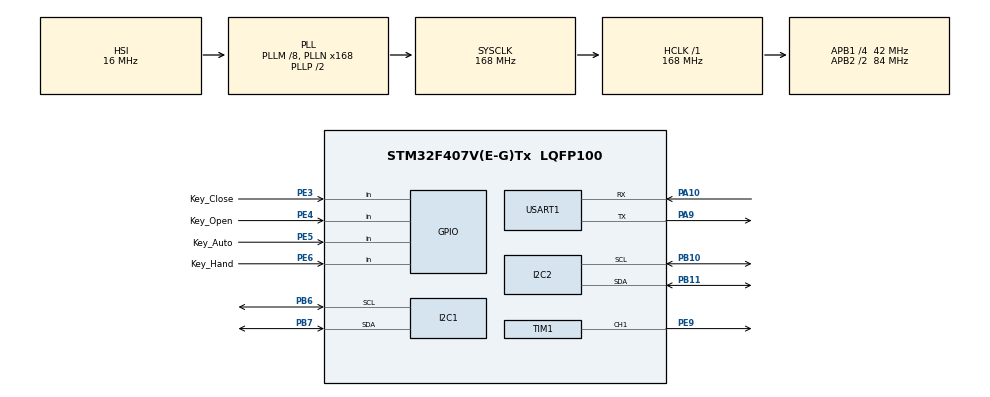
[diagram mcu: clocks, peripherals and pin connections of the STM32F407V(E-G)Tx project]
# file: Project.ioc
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Mcu.Family=STM32F4
Mcu.Name=STM32F407V(E-G)Tx
Mcu.Package=LQFP100
NVIC.PriorityGroup=NVIC_PRIORITYGROUP_4
PA10.Mode=Asynchronous
PA10.Signal=USART1_RX
PA13.Mode=Serial_Wire
PA13.Signal=SYS_JTMS-SWDIO
PA14.Mode=Serial_Wire
PA14.Signal=SYS_JTCK-SWCLK
PA9.Mode=Asynchronous
PA9.Signal=USART1_TX
PB10.Mode=I2C
PB10.Signal=I2C2_SCL
PB11.Mode=I2C
PB11.Signal=I2C2_SDA
PB6.Mode=I2C
PB6.Signal=I2C1_SCL
PB7.Mode=I2C
PB7.Signal=I2C1_SDA
PC14-OSC32_IN.Mode=LSE-External-Oscillator
PC14-OSC32_IN.Signal=RCC_OSC32_IN
PC15-OSC32_OUT.Mode=LSE-External-Oscillator
PC15-OSC32_OUT.Signal=RCC_OSC32_OUT
PE3.GPIO_Label=Key_Close
PE3.GPIO_PuPd=GPIO_PULLUP
PE3.Signal=GPIO_Input
PE4.GPIO_Label=Key_Open
PE4.GPIO_PuPd=GPIO_PULLUP
PE4.Signal=GPIO_Input
PE5.GPIO_Label=Key_Auto
PE5.GPIO_PuPd=GPIO_PULLUP
PE5.Signal=GPIO_Input
PE6.GPIO_Label=Key_Hand
PE6.GPIO_PuPd=GPIO_PULLUP
PE6.Signal=GPIO_Input
PE9.Signal=S_TIM1_CH1
PH0-OSC_IN.Mode=HSE-External-Oscillator
PH0-OSC_IN.Signal=RCC_OSC_IN
PH1-OSC_OUT.Mode=HSE-External-Oscillator
PH1-OSC_OUT.Signal=RCC_OSC_OUT
ProjectManager.HeapSize=0x200
ProjectManager.StackSize=0x400
ProjectManager.TargetToolchain=MDK-ARM V5.32
RCC.48MHZClocksFreq_Value=84000000
RCC.AHBFreq_Value=168000000
RCC.APB1CLKDivider=RCC_HCLK_DIV4
RCC.APB1Freq_Value=42000000
RCC.APB1TimFreq_Value=84000000
RCC.APB2CLKDivider=RCC_HCLK_DIV2
RCC.APB2Freq_Value=84000000
RCC.APB2TimFreq_Value=168000000
RCC.CortexFreq_Value=168000000
RCC.HCLKFreq_Value=168000000
RCC.HSE_VALUE=25000000
RCC.HSI_VALUE=16000000
RCC.PLLM=8
RCC.PLLN=168
RCC.SYSCLKFreq_VALUE=168000000
RCC.SYSCLKSource=RCC_SYSCLKSOURCE_PLLCLK
RCC.VCOOutputFreq_Value=336000000
SH.S_TIM1_CH1.0=TIM1_CH1,PWM Generation1 CH1
TIM1.Channel-PWM\ Generation1\ CH1=TIM_CHANNEL_1
TIM1.Period=19999
TIM1.Prescaler=71
TIM1.Pulse-PWM\ Generation1\ CH1=500
USART1.VirtualMode=VM_ASYNC
VP_TIM1_VS_ClockSourceINT.Mode=Internal
board=custom

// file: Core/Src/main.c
/* USER CODE BEGIN Header */
/**
  ******************************************************************************
  * @file           : main.c
  * @brief          : Main program body
  ******************************************************************************
  * @attention
  *
  * Copyright (c) 2023 STMicroelectronics.
  * All rights reserved.
  *
  * This software is licensed under terms that can be found in the LICENSE file
  * in the root directory of this software component.
  * If no LICENSE file comes with this software, it is provided AS-IS.
  *
  ******************************************************************************
  */
/* USER CODE END Header */
#include "main.h"
#include "i2c.h"
#include "tim.h"
#include "usart.h"
#include "gpio.h"

/* USER CODE BEGIN Includes */
#include "stdio.h"
#include "oled.h"
#include "bh1750.h"
#include "steeringengine.h"
/* USER CODE END Includes */

void SystemClock_Config(void);

int main(void)
{
  /* USER CODE BEGIN 1 */
	uint8_t x = 0;
	uint8_t y = 0;
	uint16_t lightValue = 0;
	uint8_t rxData[1];
	uint8_t cmdNum = 0;
	uint8_t lightLimit = 50;
  /* USER CODE END 1 */

  /* MCU Configuration--------------------------------------------------------*/

  /* Reset of all peripherals, Initializes the Flash interface and the Systick. */
  HAL_Init();

  /* Configure the system clock */
  SystemClock_Config();

  /* Initialize all configured peripherals */
  MX_GPIO_Init();
  MX_I2C1_Init();
  MX_USART1_UART_Init();
  MX_I2C2_Init();
  MX_TIM1_Init();
  /* USER CODE BEGIN 2 */
	OLED_Init();
	OLED_Clear();
	OLED_ShowChinese(x + 32, y, 0);
	OLED_ShowChinese(x + 32 + 16 * 1, y, 1);
	OLED_ShowChinese(x + 32 + 16 * 2, y, 2);
	OLED_ShowChinese(x + 32 + 16 * 3, y, 3);
	OLED_ShowChinese(x + 32, y + 2 * 1, 4);
	OLED_ShowChinese(x + 32 + 16 * 1, y + 2 * 1, 5);
	OLED_ShowChinese(x + 32 + 16 * 2, y + 2 * 1, 6);
	OLED_ShowChinese(x + 32 + 16 * 3, y + 2 * 1, 7);

	OLED_ShowChinese(x, y + 2 * 2, 8);
	OLED_ShowChinese(x + 16 * 1, y + 2 * 2, 9);
	OLED_ShowChinese(x, y + 2 * 3, 10);
	OLED_ShowChinese(x + 16 * 1, y + 2 * 3, 11);

	OLED_ShowChinese(x + 16 * 3 + 8, y + 2 * 3, 12);
	OLED_ShowChinese(x + 16 * 4 + 8, y + 2 * 3, 13);
	OLED_ShowChar(x + 16 * 5 + 8, y + 2 * 3, ':', 16);
  /* USER CODE END 2 */

  /* Infinite loop */
  /* USER CODE BEGIN WHILE */
  while (1)
  {
		HAL_UART_Receive_IT(&huart1, rxData, 1);
		cmdNum = rxData[0];

		lightValue = Get_BH1750_Value();
		OLED_ShowNum(x + 16 * 2, y + 2 * 2, lightValue, 8, 16);
		OLED_ShowChar(x + 16 * 6 + 8 * 1, y + 2 * 2, 'L', 16);
		OLED_ShowChar(x + 16 * 6 + 8 * 2, y + 2 * 2, 'u', 16);
		OLED_ShowChar(x + 16 * 6 + 8 * 3, y + 2 * 2, 'x', 16);
		if(HAL_GPIO_ReadPin(Key_Auto_GPIO_Port, Key_Auto_Pin) == GPIO_PIN_RESET)
		{
			OLED_ShowChar(x + 96 + 8 * 0, y + 2 * 3, 'A', 16);
			OLED_ShowChar(x + 96 + 8 * 1, y + 2 * 3, 'u', 16);
			OLED_ShowChar(x + 96 + 8 * 2, y + 2 * 3, 't', 16);
			OLED_ShowChar(x + 96 + 8 * 3, y + 2 * 3, 'o', 16);
			if(lightValue<lightLimit)
			{
				HAL_Delay(200);
				closeCurtain();
			}
			else if(lightValue>lightLimit)
			{
				HAL_Delay(200);
				openCurtain();
			}
		}
		else if(HAL_GPIO_ReadPin(Key_Hand_GPIO_Port, Key_Hand_Pin) == GPIO_PIN_RESET)
		{
			OLED_ShowChar(x + 96 + 8 * 0, y + 2 * 3, 'H', 16);
			OLED_ShowChar(x + 96 + 8 * 1, y + 2 * 3, 'a', 16);
			OLED_ShowChar(x + 96 + 8 * 2, y + 2 * 3, 'n', 16);
			OLED_ShowChar(x + 96 + 8 * 3, y + 2 * 3, 'd', 16);
			if(HAL_GPIO_ReadPin(Key_Open_GPIO_Port, Key_Open_Pin) == GPIO_PIN_RESET || cmdNum == 1)
			{
				HAL_Delay(100);
				openCurtain();
			}
			else if(HAL_GPIO_ReadPin(Key_Close_GPIO_Port, Key_Close_Pin) == GPIO_PIN_RESET || cmdNum == 0)
			{
				HAL_Delay(100);
				closeCurtain();
			}
		}
    /* USER CODE END WHILE */

  }
}

void SystemClock_Config(void)
{
  RCC_OscInitTypeDef RCC_OscInitStruct = {0};
  RCC_ClkInitTypeDef RCC_ClkInitStruct = {0};

  /** Configure the main internal regulator output voltage
  */
  __HAL_RCC_PWR_CLK_ENABLE();
  __HAL_PWR_VOLTAGESCALING_CONFIG(PWR_REGULATOR_VOLTAGE_SCALE1);

  /** Initializes the RCC Oscillators according to the specified parameters
  * in the RCC_OscInitTypeDef structure.
  */
  RCC_OscInitStruct.OscillatorType = RCC_OSCILLATORTYPE_HSI;
  RCC_OscInitStruct.HSIState = RCC_HSI_ON;
  RCC_OscInitStruct.HSICalibrationValue = RCC_HSICALIBRATION_DEFAULT;
  RCC_OscInitStruct.PLL.PLLState = RCC_PLL_ON;
  RCC_OscInitStruct.PLL.PLLSource = RCC_PLLSOURCE_HSI;
  RCC_OscInitStruct.PLL.PLLM = 8;
  RCC_OscInitStruct.PLL.PLLN = 168;
  RCC_OscInitStruct.PLL.PLLP = RCC_PLLP_DIV2;
  RCC_OscInitStruct.PLL.PLLQ = 4;
  if (HAL_RCC_OscConfig(&RCC_OscInitStruct) != HAL_OK)
  {
    Error_Handler();
  }

  /** Initializes the CPU, AHB and APB buses clocks
  */
  RCC_ClkInitStruct.ClockType = RCC_CLOCKTYPE_HCLK|RCC_CLOCKTYPE_SYSCLK
                              |RCC_CLOCKTYPE_PCLK1|RCC_CLOCKTYPE_PCLK2;
  RCC_ClkInitStruct.SYSCLKSource = RCC_SYSCLKSOURCE_PLLCLK;
  RCC_ClkInitStruct.AHBCLKDivider = RCC_SYSCLK_DIV1;
  RCC_ClkInitStruct.APB1CLKDivider = RCC_HCLK_DIV4;
  RCC_ClkInitStruct.APB2CLKDivider = RCC_HCLK_DIV2;

  if (HAL_RCC_ClockConfig(&RCC_ClkInitStruct, FLASH_LATENCY_5) != HAL_OK)
  {
    Error_Handler();
  }
}

void Error_Handler(void)
{
  __disable_irq();
  while (1)
  {
  }
}
